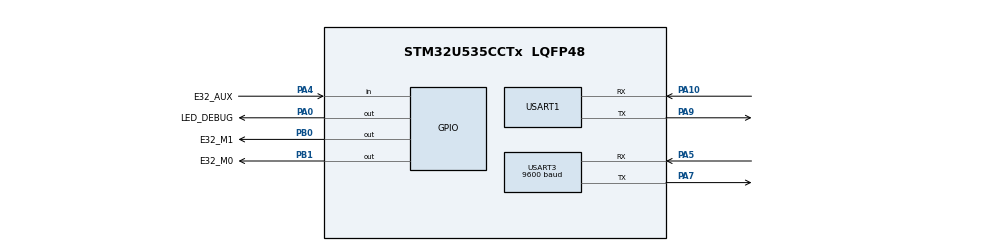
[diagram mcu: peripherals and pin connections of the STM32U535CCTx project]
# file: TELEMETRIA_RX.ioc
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CORTEX_M33_NS.userName=CORTEX_M33
Mcu.Family=STM32U5
Mcu.Name=STM32U535CCTx
Mcu.Package=LQFP48
NVIC.PriorityGroup=NVIC_PRIORITYGROUP_4
PA0.GPIO_Label=LED_DEBUG
PA0.Signal=GPIO_Output
PA10.Mode=Asynchronous
PA10.Signal=USART1_RX
PA4.GPIO_Label=E32_AUX
PA4.Signal=GPIO_Input
PA5.Mode=Asynchronous
PA5.Signal=USART3_RX
PA7.Mode=Asynchronous
PA7.Signal=USART3_TX
PA9.Mode=Asynchronous
PA9.Signal=USART1_TX
PB0.GPIO_Label=E32_M1
PB0.Signal=GPIO_Output
PB1.GPIO_Label=E32_M0
PB1.Signal=GPIO_Output
ProjectManager.HeapSize=0x200
ProjectManager.StackSize=0x400
ProjectManager.TargetToolchain=STM32CubeIDE
RCC.ADCFreq_Value=16000000
RCC.DACCLockSelectionVirtual=RCC_DAC1CLKSOURCE_LSI
RCC.DACCLockSelectionVirtualString=RCC_DAC1CLKSOURCE_LSI
RCC.EPOD_VALUE=4000000
RCC.HSE_VALUE=16000000
RCC.HSI48_VALUE=48000000
RCC.HSI_VALUE=16000000
RCC.LSE_VALUE=32768
RCC.LSIDIV_VALUE=32000
RCC.MSI_VALUE=4000000
RCC.USBFreq_Value=48000000
RCC.VCOOutputFreq_Value=516000000
USART1.VirtualMode-Asynchronous=VM_ASYNC
USART3.BaudRate=9600
USART3.VirtualMode-Asynchronous=VM_ASYNC
VP_LPBAMQUEUE_VS_QUEUE.Mode=QUEUEMODE
VP_LPBAM_VS_SIG1.Mode=SmartRun
VP_LPBAM_VS_SIG4.Mode=LPDMA1
VP_MEMORYMAP_VS_MEMORYMAP.Mode=CurAppReg
VP_PWR_VS_SECSignals.Mode=Security/Privilege
board=custom

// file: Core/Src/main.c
/* USER CODE BEGIN Header */
/**
  ******************************************************************************
  * @file           : main.c
  * @brief          : Main program body
  ******************************************************************************
  * @attention
  *
  * Copyright (c) 2026 STMicroelectronics.
  * All rights reserved.
  *
  * This software is licensed under terms that can be found in the LICENSE file
  * in the root directory of this software component.
  * If no LICENSE file comes with this software, it is provided AS-IS.
  *
  ******************************************************************************
  */
/* USER CODE END Header */
#include "main.h"
#include "usart.h"
#include "gpio.h"

/* USER CODE BEGIN Includes */

#include <string.h>
#include <stdio.h>

/* USER CODE END Includes */

/* USER CODE BEGIN PTD */

typedef enum {
  PM_INT,
  PM_UINT,
  PM_FLOAT,
  PM_DOUBLE
} PrintMode;

/* USER CODE END PTD */

/* USER CODE BEGIN PD */

#define LORA_SPED      0x1C
#define LORA_CHANNEL   0x06
#define LORA_OPTION    0xC4

/*
 * Estrutura do pacote recebido via UART3 (bytes de roteamento 0xFF 0xFF CANAL
 * sao consumidos internamente pelo E32 em Fixed Transmission):
 *
 * [0]      = CAN ID byte 3  (MSB)
 * [1]      = CAN ID byte 2
 * [2]      = CAN ID byte 1
 * [3]      = CAN ID byte 0  (LSB)
 * [4]      = tamanho do payload CAN (N bytes)
 * [5..N+4] = dados CAN
 */
#define PKT_HEADER_SIZE  5     /* 4 bytes CAN ID + 1 byte tamanho */
#define MAX_PAYLOAD_SIZE 300

#define RX_HEADER_TIMEOUT_MS  2000
#define RX_DATA_TIMEOUT_MS    1000

/* USER CODE END PD */

/* USER CODE BEGIN PV */

uint8_t pktHeader[PKT_HEADER_SIZE];
uint8_t pktData[MAX_PAYLOAD_SIZE];
uint8_t packetSize;
uint32_t canID;

PrintMode print_mode = PM_INT;
uint32_t uint_result[8];
int32_t  int_result[8];
double double_result;
float    float_result[8];

/* USER CODE END PV */

void SystemClock_Config(void);
/* USER CODE BEGIN PFP */

void disp(char *msg);
void e32_waitAUX(uint32_t timeoutMs);
void e32_setMode(uint8_t m1, uint8_t m0);
uint8_t e32_configureModule(void);
int e32_Receive(uint32_t *outCanID, uint8_t *outData, uint8_t *outSize);

int _write(int file, char *ptr, int len) {
    HAL_UART_Transmit(&huart1, (uint8_t*)ptr, len, HAL_MAX_DELAY);
    return len;
}

/* USER CODE END PFP */

/* USER CODE BEGIN 0 */

static inline uint16_t u16(uint8_t hi, uint8_t lo) {
  return (uint16_t)((uint16_t)hi << 8 | (uint16_t)lo);
}
static inline int16_t s16(uint8_t hi, uint8_t lo) {
  return (int16_t)u16(hi, lo);
}
static inline uint64_t u64(uint8_t b7, uint8_t b6, uint8_t b5, uint8_t b4,
                           uint8_t b3, uint8_t b2, uint8_t b1, uint8_t b0)
{
    return ((uint64_t)b7 << 56) |
           ((uint64_t)b6 << 48) |
           ((uint64_t)b5 << 40) |
           ((uint64_t)b4 << 32) |
           ((uint64_t)b3 << 24) |
           ((uint64_t)b2 << 16) |
           ((uint64_t)b1 << 8 ) |
           ((uint64_t)b0);
}

static inline int64_t s64(uint8_t b7, uint8_t b6, uint8_t b5, uint8_t b4,
                          uint8_t b3, uint8_t b2, uint8_t b1, uint8_t b0)
{
    return (int64_t)u64(b7, b6, b5, b4, b3, b2, b1, b0);
}

/* USER CODE END 0 */

int main(void)
{

  /* MCU Configuration--------------------------------------------------------*/

  /* Reset of all peripherals, Initializes the Flash interface and the Systick. */
  HAL_Init();

  /* Configure the system clock */
  SystemClock_Config();

  /* Initialize all configured peripherals */
  MX_GPIO_Init();
  MX_USART1_UART_Init();
  MX_USART3_UART_Init();
  /* USER CODE BEGIN 2 */

  disp("FORMULA TESLA UFMG - TELEMETRIA V4 - PLACA RECEPTORA\r\n");

  e32_configureModule();

  disp("[MODE] Normal Mode...\r\n");

  e32_setMode(0, 0);

  disp("[RX] Aguardando pacotes...\r\n");

  /* USER CODE END 2 */

  /* Infinite loop */
  /* USER CODE BEGIN WHILE */
  while (1)
  {
	if (e32_Receive(&canID, pktData, &packetSize) == 0)
	{
	  HAL_GPIO_TogglePin(LED_DEBUG_GPIO_Port, LED_DEBUG_Pin);

      switch (canID) {
          case 76:
              memset(float_result, 0, sizeof(float_result));
              float_result[0] = (float) u16(pktData[1], pktData[0]); // SPEED_AVG
              float_result[1] = (float) u16(pktData[3], pktData[2]); // STEERING_WHEEL
              float_result[2] = (float) u16(pktData[5], pktData[4]); // THROTTLE
              float_result[3] = (float) u16(pktData[7], pktData[6]); // BRAKE
              print_mode = PM_FLOAT;
              break;

          case 77:
              memset(uint_result, 0, sizeof(uint_result));
              uint_result[0] = (uint32_t) u16(pktData[1], pktData[0]); // MODE
              uint_result[1] = (uint32_t) u16(pktData[3], pktData[2]); // TORQUER_GAIN
              uint_result[2] = (uint32_t) u16(pktData[5], pktData[4]); // DISTANCE_P_ODOM
              uint_result[3] = (uint32_t) u16(pktData[7], pktData[6]); // DISTANCE_T_ODOM
              print_mode = PM_UINT;
              break;

          case 78:
              memset(uint_result, 0, sizeof(uint_result));
              uint_result[0] = (uint32_t) u16(pktData[1], pktData[0]); // CONTROL_EVENT_FLAG_1
              uint_result[1] = (uint32_t) u16(pktData[3], pktData[2]); // CONTROL_EVENT_FLAG_2
              uint_result[2] = (uint32_t) u16(pktData[5], pktData[4]); // REF_TORQUE_R_MOTOR
              uint_result[3] = (uint32_t) u16(pktData[7], pktData[6]); // REF_TORQUE_L_MOTOR
              print_mode = PM_UINT;
              break;

          case 79:
              memset(float_result, 0, sizeof(float_result));
              float_result[0] = (float) u16(pktData[1], pktData[0]); // SPEED_LF
              float_result[1] = (float) u16(pktData[3], pktData[2]); // SPEED_LR
              float_result[2] = (float) u16(pktData[5], pktData[4]); // SPEED_RL
              float_result[3] = (float) u16(pktData[7], pktData[6]); // SPEED_RR
              print_mode = PM_FLOAT;
              break;

          case 80:
              memset(int_result,  0, sizeof(int_result));
              int_result[0] = (int32_t) s16(pktData[1], pktData[0]); // ID_PANEL_DEBUG_1
              int_result[1] = (int32_t) s16(pktData[3], pktData[2]); // ID_PANEL_DEBUG_2
              int_result[2] = (int32_t) s16(pktData[5], pktData[4]); // ID_PANEL_DEBUG_3
              int_result[3] = (int32_t) s16(pktData[7], pktData[6]); // ID_PANEL_DEBUG_4
              print_mode = PM_INT;
              break;

          case 81:
              memset(uint_result, 0, sizeof(uint_result));
              uint_result[0] = (uint32_t) u16(pktData[1], pktData[0]); // ID_REGEN_BRAKE_STATE
              print_mode = PM_UINT;
              break;

          case 85:
              memset(float_result, 0, sizeof(float_result));
              float_result[0] = (float) s16(pktData[1], pktData[0]); // SPEED_L_MOTOR
              float_result[1] = (float) s16(pktData[3], pktData[2]); // TORQUE_L_MOTOR
              float_result[2] = (float) s16(pktData[5], pktData[4]); // POWER_L_MOTOR
              float_result[3] = (float) s16(pktData[7], pktData[6]); // CURRENT_L_MOTOR
              print_mode = PM_FLOAT;
              break;

          case 86:
              memset(int_result,  0, sizeof(int_result));
              int_result[0] = (int32_t) s16(pktData[1], pktData[0]); // ENERGY_L_MOTOR
              int_result[1] = (int32_t) s16(pktData[3], pktData[2]); // OVERLOAD_L_MOTOR
              int_result[2] = (int32_t) s16(pktData[5], pktData[4]); // TEMPERATURE1_L
              int_result[3] = (int32_t) s16(pktData[7], pktData[6]); // TEMPERATURE2_L
              print_mode = PM_INT;
              break;

          case 87:
              memset(uint_result, 0, sizeof(uint_result));
              uint_result[0] = (uint32_t) u16(pktData[1], pktData[0]); // ID_LOST_MSG_L_MOTOR
              uint_result[1] = (uint32_t) u16(pktData[3], pktData[2]); // ID_BUS_OFF_L_MOTOR
              uint_result[2] = (uint32_t) u16(pktData[5], pktData[4]); // ID_CAN_STATE_L_MOTOR
              print_mode = PM_UINT;
              break;

          case 88:
              memset(uint_result, 0, sizeof(uint_result));
              uint_result[0] = (uint32_t) u16(pktData[1], pktData[0]); // ID_INV_STATE_L_MOTOR
              uint_result[1] = (uint32_t) u16(pktData[3], pktData[2]); // ID_FAILURE_L_MOTOR
              uint_result[2] = (uint32_t) u16(pktData[5], pktData[4]); // ID_ALARM_L_MOTOR
              print_mode = PM_UINT;
              break;

          case 95:
              memset(float_result, 0, sizeof(float_result));
              float_result[0] = (float) s16(pktData[1], pktData[0]); // ID_SPEED_R_MOTOR
              float_result[1] = (float) s16(pktData[3], pktData[2]); // ID_TORQUE_R_MOTOR
              float_result[2] = (float) s16(pktData[5], pktData[4]); // ID_POWER_R_MOTOR
              float_result[3] = (float) s16(pktData[7], pktData[6]); // ID_CURRENT_R_MOTOR
              print_mode = PM_FLOAT;
              break;

          case 96:
              memset(float_result, 0, sizeof(float_result));
              float_result[0] = (float) u16(pktData[1], pktData[0]); // ID_ENERGY_R_MOTOR
              float_result[1] = (float) u16(pktData[3], pktData[2]); // ID_OVERLOAD_R_MOTOR
              float_result[2] = (float) u16(pktData[5], pktData[4]); // ID_TEMPERATURE1_R
              float_result[3] = (float) u16(pktData[7], pktData[6]); // ID_TEMPERATURE2_R
              print_mode = PM_FLOAT;
              break;

          case 97:
              memset(uint_result, 0, sizeof(uint_result));
              uint_result[0] = (uint32_t) u16(pktData[1], pktData[0]); // ID_LOST_MSG_R_MOTOR
              uint_result[1] = (uint32_t) u16(pktData[3], pktData[2]); // ID_BUS_OFF_R_MOTOR
              uint_result[2] = (uint32_t) u16(pktData[5], pktData[4]); // ID_CAN_STATE_R_MOTOR
              print_mode = PM_UINT;
              break;

          case 98:
              memset(uint_result, 0, sizeof(uint_result));
              uint_result[0] = (uint32_t) u16(pktData[1], pktData[0]); // ID_INV_STATE_R_MOTOR
              uint_result[1] = (uint32_t) u16(pktData[3], pktData[2]); // ID_FAILURE_R_MOTOR
              uint_result[2] = (uint32_t) u16(pktData[5], pktData[4]); // ID_ALARM_R_MOTOR
              print_mode = PM_UINT;
              break;

          case 259:
              memset(float_result, 0, sizeof(float_result));
              float_result[0] = (float) s16(pktData[1], pktData[0]); // AcelX
              float_result[1] = (float) s16(pktData[3], pktData[2]); // AcelY
              float_result[2] = (float) s16(pktData[5], pktData[4]); // AcelZ
              print_mode = PM_FLOAT;
              break;

          case 260:
              memset(float_result, 0, sizeof(float_result));
              float_result[0] = (float) s16(pktData[1], pktData[0]); // GyroX
              float_result[1] = (float) s16(pktData[3], pktData[2]); // GyroY
              float_result[2] = (float) s16(pktData[5], pktData[4]); // GyroZ
              print_mode = PM_FLOAT;
              break;

          case 261:
              double_result = 0;
              double_result = (double) s64(pktData[7], pktData[6], pktData[5], pktData[4], pktData[3], pktData[2], pktData[1], pktData[0]); // Temp
              print_mode = PM_DOUBLE;
              break;

          case 262:
        	  double_result = 0;
				double_result = (double)s64(pktData[7], pktData[6], pktData[5], pktData[4], pktData[3], pktData[2], pktData[1], pktData[0]); // Temp
				print_mode = PM_DOUBLE;
				break;

          case 263:
        	  double_result = 0;
				double_result = (double)s64(pktData[7], pktData[6], pktData[5], pktData[4], pktData[3], pktData[2], pktData[1], pktData[0]);  // Temp
				print_mode = PM_DOUBLE;
				break;

          case 361:
              memset(float_result, 0, sizeof(float_result));
              float_result[0] = (float) u16(pktData[1], pktData[0]); // ID_PANEL_DEBUG_1
              float_result[1] = (float) u16(pktData[3], pktData[2]); // ID_PANEL_DEBUG_2
              float_result[2] = (float) u16(pktData[5], pktData[4]); // ID_PANEL_DEBUG_3
              float_result[3] = (float) u16(pktData[7], pktData[6]); // ID_PANEL_DEBUG_4
              print_mode = PM_FLOAT;
              break;

          case 300: // STACK 1
              memset(float_result, 0, sizeof(float_result));
              float_result[0] = (float) u16(pktData[1], pktData[0]) / 10000.0f; // CELL_1
              float_result[1] = (float) u16(pktData[3], pktData[2]) / 10000.0f; // CELL_2
              float_result[2] = (float) u16(pktData[5], pktData[4]) / 10000.0f; // CELL_3
              float_result[3] = (float) u16(pktData[7], pktData[6]) / 10000.0f; // CELL_4
              print_mode = PM_FLOAT;
              break;

          case 301: // STACK 2
              memset(float_result, 0, sizeof(float_result));
              float_result[0] = (float) u16(pktData[1], pktData[0]) / 10000.0f; // CELL_1
              float_result[1] = (float) u16(pktData[3], pktData[2]) / 10000.0f; // CELL_2
              float_result[2] = (float) u16(pktData[5], pktData[4]) / 10000.0f; // CELL_3
              float_result[3] = (float) u16(pktData[7], pktData[6]) / 10000.0f; // CELL_4
              print_mode = PM_FLOAT;
              break;

          case 302: // STACK 3
              memset(float_result, 0, sizeof(float_result));
              float_result[0] = (float) u16(pktData[1], pktData[0]) / 10000.0f; // CELL_1
              float_result[1] = (float) u16(pktData[3], pktData[2]) / 10000.0f; // CELL_2
              float_result[2] = (float) u16(pktData[5], pktData[4]) / 10000.0f; // CELL_3
              float_result[3] = (float) u16(pktData[7], pktData[6]) / 10000.0f; // CELL_4
              print_mode = PM_FLOAT;
              break;

          case 303: // STACK 4
              memset(float_result, 0, sizeof(float_result));
              float_result[0] = (float) u16(pktData[1], pktData[0]) / 10000.0f; // CELL_1
              float_result[1] = (float) u16(pktData[3], pktData[2]) / 10000.0f; // CELL_2
              float_result[2] = (float) u16(pktData[5], pktData[4]) / 10000.0f; // CELL_3
              float_result[3] = (float) u16(pktData[7], pktData[6]) / 10000.0f; // CELL_4
              print_mode = PM_FLOAT;
              break;

          case 304: // STACK 5
              memset(float_result, 0, sizeof(float_result));
              float_result[0] = (float) u16(pktData[1], pktData[0]) / 10000.0f; // CELL_1
              float_result[1] = (float) u16(pktData[3], pktData[2]) / 10000.0f; // CELL_2
              float_result[2] = (float) u16(pktData[5], pktData[4]) / 10000.0f; // CELL_3
              float_result[3] = (float) u16(pktData[7], pktData[6]) / 10000.0f; // CELL_4
              print_mode = PM_FLOAT;
              break;

          case 305: // STACK 6
              memset(float_result, 0, sizeof(float_result));
              float_result[0] = (float) u16(pktData[1], pktData[0]) / 10000.0f; // CELL_1
              float_result[1] = (float) u16(pktData[3], pktData[2]) / 10000.0f; // CELL_2
              float_result[2] = (float) u16(pktData[5], pktData[4]) / 10000.0f; // CELL_3
              float_result[3] = (float) u16(pktData[7], pktData[6]) / 10000.0f; // CELL_4
              print_mode = PM_FLOAT;
              break;

          case 306: // ACCUMULATOR PARAMS
              memset(float_result, 0, sizeof(float_result));
              float_result[0] = (float) u16(pktData[1], pktData[0]) / 10000.0f; // MIN_VOLTAGE
              float_result[1] = (float) u16(pktData[3], pktData[2]) / 10000.0f; // MAX_VOLTAGE
              float_result[2] = (float) u16(pktData[5], pktData[4]) / 10.0f;    // TOTAL_VOLTAGE
              float_result[3] = (float) u16(pktData[7], pktData[6]);            // SHUNT CURRENT
              print_mode = PM_FLOAT;
              break;

          case 307: // BMS PARAMS
              memset(int_result,  0, sizeof(int_result));
              int_result[0] = (int32_t) s16(pktData[1], pktData[0]); // BMS_MODE
              int_result[1] = (int32_t) s16(pktData[3], pktData[2]); // BMS_ERROR
              int_result[2] = (int32_t) s16(pktData[5], pktData[4]); // AIR_P
              int_result[3] = (int32_t) s16(pktData[7], pktData[6]); // AIR_N
              print_mode = PM_INT;
              break;

          default:
              memset(float_result, 0, sizeof(float_result));
              for (int i = 0; i < 8; i++){
                  float_result[i] = (float) pktData[i];
              }
              print_mode = PM_FLOAT;
              break;
      }

	  printf("%lu", canID); // Imprime o ID

	  // Imprime os dados conforme o modo
	  for (size_t i = 0; i < 8; i++) {
	      printf(","); // Vírgula separadora
	      if (print_mode == PM_UINT) {
	          printf("%lu", uint_result[i]);
	      } else if (print_mode == PM_INT) {
	          printf("%ld", int_result[i]);
	      } else if (print_mode == PM_FLOAT){ // PM_FLOAT
	          printf("%.2f", float_result[i]);
	      } else {
	          printf("%lf", double_result);
	          break;
	      }
	  }
	  printf("\r\n"); // Quebra de linha final

	}
    /* USER CODE END WHILE */

  }
}

void SystemClock_Config(void)
{
  RCC_OscInitTypeDef RCC_OscInitStruct = {0};
  RCC_ClkInitTypeDef RCC_ClkInitStruct = {0};

  /** Configure the main internal regulator output voltage
  */
  if (HAL_PWREx_ControlVoltageScaling(PWR_REGULATOR_VOLTAGE_SCALE3) != HAL_OK)
  {
    Error_Handler();
  }

  /** Initializes the CPU, AHB and APB buses clocks
  */
  RCC_OscInitStruct.OscillatorType = RCC_OSCILLATORTYPE_MSI;
  RCC_OscInitStruct.MSIState = RCC_MSI_ON;
  RCC_OscInitStruct.MSICalibrationValue = RCC_MSICALIBRATION_DEFAULT;
  RCC_OscInitStruct.MSIClockRange = RCC_MSIRANGE_0;
  RCC_OscInitStruct.PLL.PLLState = RCC_PLL_ON;
  RCC_OscInitStruct.PLL.PLLSource = RCC_PLLSOURCE_MSI;
  RCC_OscInitStruct.PLL.PLLMBOOST = RCC_PLLMBOOST_DIV4;
  RCC_OscInitStruct.PLL.PLLM = 3;
  RCC_OscInitStruct.PLL.PLLN = 8;
  RCC_OscInitStruct.PLL.PLLP = 2;
  RCC_OscInitStruct.PLL.PLLQ = 1;
  RCC_OscInitStruct.PLL.PLLR = 2;
  RCC_OscInitStruct.PLL.PLLRGE = RCC_PLLVCIRANGE_1;
  RCC_OscInitStruct.PLL.PLLFRACN = 0;
  if (HAL_RCC_OscConfig(&RCC_OscInitStruct) != HAL_OK)
  {
    Error_Handler();
  }

  /** Initializes the CPU, AHB and APB buses clocks
  */
  RCC_ClkInitStruct.ClockType = RCC_CLOCKTYPE_HCLK|RCC_CLOCKTYPE_SYSCLK
                              |RCC_CLOCKTYPE_PCLK1|RCC_CLOCKTYPE_PCLK2
                              |RCC_CLOCKTYPE_PCLK3;
  RCC_ClkInitStruct.SYSCLKSource = RCC_SYSCLKSOURCE_MSI;
  RCC_ClkInitStruct.AHBCLKDivider = RCC_SYSCLK_DIV1;
  RCC_ClkInitStruct.APB1CLKDivider = RCC_HCLK_DIV1;
  RCC_ClkInitStruct.APB2CLKDivider = RCC_HCLK_DIV1;
  RCC_ClkInitStruct.APB3CLKDivider = RCC_HCLK_DIV1;

  if (HAL_RCC_ClockConfig(&RCC_ClkInitStruct, FLASH_LATENCY_1) != HAL_OK)
  {
    Error_Handler();
  }
}

/* USER CODE BEGIN 4 */

void disp(char *msg)
{
    HAL_UART_Transmit(
        &huart1,
        (uint8_t*)msg,
        strlen(msg),
        HAL_MAX_DELAY
    );
}

void e32_waitAUX(uint32_t timeoutMs)
{
    uint32_t tickstart = HAL_GetTick();

    while(HAL_GPIO_ReadPin(E32_AUX_GPIO_Port, E32_AUX_Pin) == GPIO_PIN_RESET)
    {
        if((HAL_GetTick() - tickstart) > timeoutMs)
        {
            disp("[AUX] Timeout!\r\n");
            return;
        }
    }
}

void e32_setMode(uint8_t m1, uint8_t m0)
{
    HAL_GPIO_WritePin(
        E32_M1_GPIO_Port,
        E32_M1_Pin,
        m1 ? GPIO_PIN_SET : GPIO_PIN_RESET
    );

    HAL_GPIO_WritePin(
        E32_M0_GPIO_Port,
        E32_M0_Pin,
        m0 ? GPIO_PIN_SET : GPIO_PIN_RESET
    );

    e32_waitAUX(500);
}

uint8_t e32_configureModule(void)
{
    disp("[CFG] Sleep Mode...\r\n");

    e32_setMode(1,1);

    HAL_Delay(100);

    uint8_t dummy;

    while(HAL_UART_Receive(&huart3, &dummy, 1, 10) == HAL_OK);

    uint8_t cfg[6] = {
        0xC0,
        0x00,
        0x00,
        LORA_SPED,
        LORA_CHANNEL,
        LORA_OPTION
    };

    disp("[CFG] Sending config...\r\n");

    HAL_UART_Transmit(
        &huart3,
        cfg,
        6,
        HAL_MAX_DELAY
    );

    HAL_Delay(300);

    uint8_t resp[6] = {0};

    HAL_UART_Receive(
        &huart3,
        resp,
        6,
        800
    );

    if(resp[0] == 0xC0)
    {
        disp("[CFG] OK!\r\n");
        return 1;
    }
    else
    {
        disp("[CFG] Using existing config.\r\n");
        return 0;
    }
}

int e32_Receive(uint32_t *outCanID, uint8_t *outData, uint8_t *outSize)
{
    //e32_waitAUX(2000);

    uint8_t buffer[12];

    if(HAL_UART_Receive(&huart3, buffer, 12, 2000) != HAL_OK)
    {
        return -1;
    }

    *outCanID = ((uint32_t)buffer[0] << 24) |
                ((uint32_t)buffer[1] << 16) |
                ((uint32_t)buffer[2] << 8)  |
                ((uint32_t)buffer[3]);

    for(int i = 0; i < 8; i++)
    {
        outData[i] = buffer[4 + i];
    }

    if (outSize != NULL)
    {
        *outSize = 8;
    }

    return 0;
}

/* USER CODE END 4 */

void Error_Handler(void)
{
  __disable_irq();
  while (1)
  {
  }
}
